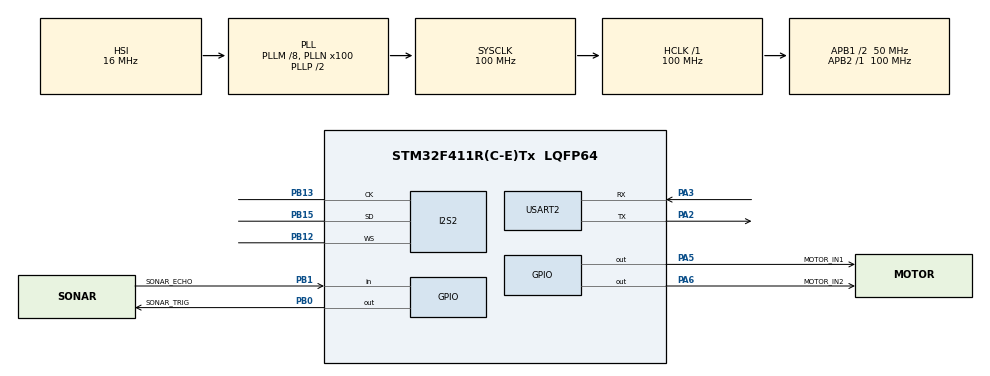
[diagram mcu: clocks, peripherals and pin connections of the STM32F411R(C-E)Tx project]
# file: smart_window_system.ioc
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Dma.Request0=SPI2_RX
Dma.SPI2_RX.0.Direction=DMA_PERIPH_TO_MEMORY
Dma.SPI2_RX.0.FIFOMode=DMA_FIFOMODE_DISABLE
Dma.SPI2_RX.0.Instance=DMA1_Stream3
Dma.SPI2_RX.0.MemDataAlignment=DMA_MDATAALIGN_HALFWORD
Dma.SPI2_RX.0.MemInc=DMA_MINC_ENABLE
Dma.SPI2_RX.0.Mode=DMA_CIRCULAR
Dma.SPI2_RX.0.PeriphDataAlignment=DMA_PDATAALIGN_HALFWORD
Dma.SPI2_RX.0.PeriphInc=DMA_PINC_DISABLE
Dma.SPI2_RX.0.Priority=DMA_PRIORITY_LOW
I2S2.AudioFreq=I2S_AUDIOFREQ_16K
I2S2.DataFormat=I2S_DATAFORMAT_16B_EXTENDED
I2S2.ErrorAudioFreq=-1.31 %
I2S2.FullDuplexMode=I2S_FULLDUPLEXMODE_DISABLE
I2S2.Instance=SPI$Index
I2S2.Mode=I2S_MODE_MASTER_RX
I2S2.RealAudioFreq=15.789 KHz
I2S2.VirtualMode=I2S_MODE_MASTER
Mcu.Family=STM32F4
Mcu.Name=STM32F411R(C-E)Tx
Mcu.Package=LQFP64
NVIC.DMA1_Stream3_IRQn=true\:1\:0\:true\:false\:true\:false\:true\:true
NVIC.PriorityGroup=NVIC_PRIORITYGROUP_4
PA2.Mode=Asynchronous
PA2.Signal=USART2_TX
PA3.Mode=Asynchronous
PA3.Signal=USART2_RX
PA5.GPIO_Label=MOTOR_IN1
PA5.Signal=GPIO_Output
PA6.GPIO_Label=MOTOR_IN2
PA6.Signal=GPIO_Output
PB0.GPIO_Label=SONAR_TRIG
PB0.Signal=GPIO_Output
PB1.GPIO_Label=SONAR_ECHO
PB1.Signal=GPIO_Input
PB12.Mode=Half_Duplex_Master
PB12.Signal=I2S2_WS
PB13.Mode=Half_Duplex_Master
PB13.Signal=I2S2_CK
PB15.Mode=Half_Duplex_Master
PB15.Signal=I2S2_SD
PC14-OSC32_IN.Mode=LSE-External-Oscillator
PC14-OSC32_IN.Signal=RCC_OSC32_IN
PC15-OSC32_OUT.Mode=LSE-External-Oscillator
PC15-OSC32_OUT.Signal=RCC_OSC32_OUT
PH0\ -\ OSC_IN.Mode=HSE-External-Clock-Source
PH0\ -\ OSC_IN.Signal=RCC_OSC_IN
PH1\ -\ OSC_OUT.Mode=HSE-External-Clock-Source
PH1\ -\ OSC_OUT.Signal=RCC_OSC_OUT
ProjectManager.HeapSize=0x800
ProjectManager.StackSize=0x800
ProjectManager.TargetToolchain=STM32CubeIDE
RCC.48MHZClocksFreq_Value=28571428.57142857
RCC.AHBFreq_Value=100000000
RCC.APB1CLKDivider=RCC_HCLK_DIV2
RCC.APB1Freq_Value=50000000
RCC.APB1TimFreq_Value=100000000
RCC.APB2Freq_Value=100000000
RCC.APB2TimFreq_Value=100000000
RCC.CortexFreq_Value=100000000
RCC.FLatency-AdvancedSettings=FLASH_LATENCY_3
RCC.HCLKFreq_Value=100000000
RCC.HSE_VALUE=25000000
RCC.HSI_VALUE=16000000
RCC.PLLI2SR=5
RCC.PLLM=8
RCC.PLLMUL=RCC_PLL_MUL9
RCC.PLLN=100
RCC.PLLQ=7
RCC.RCC_PLLsource_Clock_Source_FROM_HSE=RCC_HSE_PREDIV_DIV2
RCC.SYSCLKFreq_VALUE=100000000
RCC.SYSCLKSource=RCC_SYSCLKSOURCE_PLLCLK
RCC.SYSCLKSourceVirtual=RCC_SYSCLKSOURCE_PLLCLK
RCC.VCOOutputFreq_Value=200000000
STMicroelectronics.X-CUBE-AI.8.0.0.ActivationBufferSizeList=39824
STMicroelectronics.X-CUBE-AI.8.0.0.ActivationBuffers=pool0
STMicroelectronics.X-CUBE-AI.8.0.0.ActivationNames=pool0
STMicroelectronics.X-CUBE-AI.8.0.0.ActivationSizes=AI_RAIN_DETECTOR_MODEL_DATA_ACTIVATION_1_SIZE
STMicroelectronics.X-CUBE-AI.8.0.0.ApplicationCcDeviceJjApplication=ApplicationTemplate
STMicroelectronics.X-CUBE-AI.8.0.0.HeapSize=0x800
STMicroelectronics.X-CUBE-AI.8.0.0.InternalRamActivationBufferMaxSize=AI_RAIN_DETECTOR_MODEL_DATA_ACTIVATIONS_SIZE
STMicroelectronics.X-CUBE-AI.8.0.0.LatestDirectoryUsed-b845f19738b93dee37f0a92ab2f2141bf5e5762379895d0aa1408ba116003dd3=C\:\\Users\\samsung\\GitHub\\sound_train\\models
STMicroelectronics.X-CUBE-AI.8.0.0.MaximumNumberOfInputLayer=1
STMicroelectronics.X-CUBE-AI.8.0.0.MaximumNumberOfOutputLayer=1
STMicroelectronics.X-CUBE-AI.8.0.0.MaximumSizeOfInputLayer=1
STMicroelectronics.X-CUBE-AI.8.0.0.MaximumSizeOfOutputLayer=1
STMicroelectronics.X-CUBE-AI.8.0.0.ModelActualCompression-b845f19738b93dee37f0a92ab2f2141bf5e5762379895d0aa1408ba116003dd3=0.0
STMicroelectronics.X-CUBE-AI.8.0.0.ModelCompression-b845f19738b93dee37f0a92ab2f2141bf5e5762379895d0aa1408ba116003dd3=None
STMicroelectronics.X-CUBE-AI.8.0.0.ModelFlashOccupation-b845f19738b93dee37f0a92ab2f2141bf5e5762379895d0aa1408ba116003dd3=43240
STMicroelectronics.X-CUBE-AI.8.0.0.ModelHashList=b845f19738b93dee37f0a92ab2f2141bf5e5762379895d0aa1408ba116003dd3
STMicroelectronics.X-CUBE-AI.8.0.0.ModelKind-b845f19738b93dee37f0a92ab2f2141bf5e5762379895d0aa1408ba116003dd3=TFLITE
STMicroelectronics.X-CUBE-AI.8.0.0.ModelMacc-b845f19738b93dee37f0a92ab2f2141bf5e5762379895d0aa1408ba116003dd3=1183272
STMicroelectronics.X-CUBE-AI.8.0.0.ModelName-b845f19738b93dee37f0a92ab2f2141bf5e5762379895d0aa1408ba116003dd3=rain_detector_model
STMicroelectronics.X-CUBE-AI.8.0.0.ModelNameList=rain_detector_model
STMicroelectronics.X-CUBE-AI.8.0.0.ModelRamOccupation-b845f19738b93dee37f0a92ab2f2141bf5e5762379895d0aa1408ba116003dd3=39824
STMicroelectronics.X-CUBE-AI.8.0.0.ModelStructureFile-b845f19738b93dee37f0a92ab2f2141bf5e5762379895d0aa1408ba116003dd3=C\:\\Users\\samsung\\GitHub\\sound_train\\models\\rain_detector_int8.tflite
STMicroelectronics.X-CUBE-AI.8.0.0.ModelType-b845f19738b93dee37f0a92ab2f2141bf5e5762379895d0aa1408ba116003dd3=STM32Cube.AI runtime
STMicroelectronics.X-CUBE-AI.8.0.0.ReadyForCodeGeneration=true
STMicroelectronics.X-CUBE-AI.8.0.0.StackSize=0x800
STMicroelectronics.X-CUBE-AI.8.0.0.WorkingBufferStartAddrList=0xFFFFFFFF
STMicroelectronics.X-CUBE-AI.8.0.0.XAaCUBEAaAICcArtificialOoIntelligenceJjCore=true
STMicroelectronics.X-CUBE-AI.8.0.0.copyWeightToRam=false
STMicroelectronics.X-CUBE-AI.8.0.0.copyWeightToRam-b845f19738b93dee37f0a92ab2f2141bf5e5762379895d0aa1408ba116003dd3=false
STMicroelectronics.X-CUBE-AI.8.0.0.customLayerConfigEnabled=false
STMicroelectronics.X-CUBE-AI.8.0.0.customLayerConfigEnabled-b845f19738b93dee37f0a92ab2f2141bf5e5762379895d0aa1408ba116003dd3=false
STMicroelectronics.X-CUBE-AI.8.0.0.useInputAllocation=true
STMicroelectronics.X-CUBE-AI.8.0.0.useInputAllocation-b845f19738b93dee37f0a92ab2f2141bf5e5762379895d0aa1408ba116003dd3=true
STMicroelectronics.X-CUBE-AI.8.0.0.useOutputAllocation=true
STMicroelectronics.X-CUBE-AI.8.0.0.useOutputAllocation-b845f19738b93dee37f0a92ab2f2141bf5e5762379895d0aa1408ba116003dd3=true
USART2.VirtualMode=VM_ASYNC
VP_CRC_VS_CRC.Mode=CRC_Activate
VP_STMicroelectronics.X-CUBE-AI_VS_ArtificialOoIntelligenceJjXAaCUBEAaAI_8.0.0.Mode=ArtificialOoIntelligenceJjXAaCUBEAaAI
VP_STMicroelectronics.X-CUBE-AI_VS_DeviceJjApplication_8.0.0.Mode=DeviceJjApplication
board=custom

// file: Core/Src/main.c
/* USER CODE BEGIN Header */
/**
  ******************************************************************************
  * @file           : main.c
  * @brief          : Main program body
  ******************************************************************************
  * @attention
  *
  * Copyright (c) 2026 STMicroelectronics.
  * All rights reserved.
  *
  * This software is licensed under terms that can be found in the LICENSE file
  * in the root directory of this software component.
  * If no LICENSE file comes with this software, it is provided AS-IS.
  *
  ******************************************************************************
  */
/* USER CODE END Header */
#include "main.h"
#include "app_x-cube-ai.h"

/* USER CODE BEGIN Includes */
#ifndef ARM_MATH_CM4
#define ARM_MATH_CM4
#endif

#include "rain_detector_model.h"
#include "rain_detector_model_data.h"
#include "mfcc_params.h"
#include "arm_math.h"
#include <stdio.h>
#include <math.h>
#include <string.h>
#include <stdbool.h>
/* USER CODE END Includes */

/* USER CODE BEGIN PTD */
typedef enum {
    STATE_WINDOW_OPENING,   /* motor driving window open after boot  */
    STATE_WINDOW_OPEN,      /* window open, monitoring for rain      */
    STATE_WINDOW_CLOSING,   /* rain detected, motor closing window   */
    STATE_WINDOW_CLOSED     /* window closed, waiting for manual open */
} WindowState;
/* USER CODE END PTD */

/* USER CODE BEGIN PD */
#define THRESHOLD_RAIN_DETECT    5
#define THRESHOLD_NOT_RAIN       30

/* H-bridge motor pins (IN1/IN2) */
#define MOTOR_IN1_PIN            GPIO_PIN_5
#define MOTOR_IN1_PORT           GPIOA
#define MOTOR_IN2_PIN            GPIO_PIN_6
#define MOTOR_IN2_PORT           GPIOA

/* HC-SR04 ultrasonic sensor pins */
#define SONAR_TRIG_PIN           GPIO_PIN_0
#define SONAR_TRIG_PORT          GPIOB
#define SONAR_ECHO_PIN           GPIO_PIN_1
#define SONAR_ECHO_PORT          GPIOB

/* Distance threshold (cm): >= OPEN, < CLOSED */
#define WINDOW_CLOSED_CM         8U

/* Motor run limit; force state transition if HC-SR04 never confirms */
#define MOTOR_TIMEOUT_MS         6000U
/* USER CODE END PD */

CRC_HandleTypeDef hcrc;

I2S_HandleTypeDef hi2s2;
DMA_HandleTypeDef hdma_spi2_rx;

UART_HandleTypeDef huart2;

/* USER CODE BEGIN PV */
WindowState system_state          = STATE_WINDOW_OPENING;
int         rain_strike_count     = 0;
int         not_rain_strike_count = 0;
uint32_t    motor_start_time      = 0;

/* ICS43434 I2S DMA circular buffer
 * 160 frames x 2 (stereo) x 2 (double-buffer halves) = 640 half-words (1.28 KB)
 * ICS43434 L/R=GND -> left channel only; right channel words are 0
 * Left channel: buf[0], buf[2], buf[4], ... (even indices) */
#define I2S_CHUNK_FRAMES  160U
#define I2S_DMA_BUF_LEN  (I2S_CHUNK_FRAMES * 2U * 2U)   /* 640 */

static uint16_t         i2s_dma_buf[I2S_DMA_BUF_LEN];
static volatile uint8_t i2s_half        = 0;     /* 0=first half, 1=second half ready */
static volatile bool    i2s_chunk_rdy   = false;
static volatile bool    mic_accumulating = true;
static int              mic_sample_count = 0;
static volatile bool    mic_data_ready   = false;
/* USER CODE END PV */

void SystemClock_Config(void);
static void MX_GPIO_Init(void);
static void MX_DMA_Init(void);
static void MX_CRC_Init(void);
static void MX_USART2_UART_Init(void);
static void MX_I2S2_Init(void);
/* USER CODE BEGIN PFP */
void        AI_Run_Microphone_Inference(int8_t* mic_data, int8_t* out_not_rain, int8_t* out_rain);
void        Hardware_MFCC_Process(const short* p_mic_signal, int8_t* p_out_mfcc_int8);
static void     Motor_Close(void);
static void     Motor_Open(void);
static void     Motor_Stop(void);
static void     DWT_DelayUs(uint32_t us);
static uint32_t HC_SR04_ReadCm(void);
/* USER CODE END PFP */

int main(void)
{
  /* USER CODE BEGIN 1 */
	SCB->CPACR |= ((3UL << 10*2)|(3UL << 11*2));
  /* USER CODE END 1 */

  /* MCU Configuration--------------------------------------------------------*/

  /* Reset of all peripherals, Initializes the Flash interface and the Systick. */
  HAL_Init();

  /* Configure the system clock */
  SystemClock_Config();

  /* Initialize all configured peripherals */
  MX_GPIO_Init();
  MX_DMA_Init();
  MX_CRC_Init();
  MX_USART2_UART_Init();
  MX_I2S2_Init();
  MX_X_CUBE_AI_Init();
  /* USER CODE BEGIN 2 */
  /* Enable DWT cycle counter for HC-SR04 microsecond timing */
  CoreDebug->DEMCR |= CoreDebug_DEMCR_TRCENA_Msk;
  DWT->CYCCNT = 0;
  DWT->CTRL  |= DWT_CTRL_CYCCNTENA_Msk;

  setvbuf(stdout, NULL, _IONBF, 0);
  printf("\r\n\r\nSTM32 BOARD BOOTING SUCCESS!!\r\n");

  /* Start I2S DMA; callbacks fill mic buffer continuously */
  printf("  [DBG] Calling HAL_I2S_Receive_DMA...\r\n");
  HAL_StatusTypeDef i2s_ret = HAL_I2S_Receive_DMA(&hi2s2, i2s_dma_buf, I2S_DMA_BUF_LEN);
  printf("  [DBG] HAL_I2S_Receive_DMA returned: %d\r\n", (int)i2s_ret);
  if (i2s_ret != HAL_OK) {
      printf("  [I2S] DMA start FAILED (err=%d, i2s_err=0x%lx)\r\n",
             (int)i2s_ret, hi2s2.ErrorCode);
  } else {
      printf("  [I2S] DMA RX started (ICS43434 @ 16kHz)\r\n");
  }

  /* Open window on boot */
  printf("  [STATE] BOOT -> OPENING\r\n");
  Motor_Open();
  motor_start_time = HAL_GetTick();
  /* USER CODE END 2 */

  /* Infinite loop */
  /* USER CODE BEGIN WHILE */
  static uint32_t total_seconds = 0;
  static short    mic_raw_signal[16000];
  static int8_t   test_buffer[1274];   /* 98 frames x 13 coefs */

  const char* event_log = "System Init. Opening window...";

  while (1)
  {
    /* USER CODE END WHILE */

  MX_X_CUBE_AI_Process();
    /* USER CODE BEGIN 3 */

    /* Accumulate I2S chunks into mic_raw_signal (non-blocking, callback-driven) */
    if (i2s_chunk_rdy && mic_accumulating) {
        i2s_chunk_rdy = false;
        uint16_t *src = i2s_dma_buf +
                        (i2s_half ? I2S_CHUNK_FRAMES * 2U : 0U);
        /* Extract left channel (even indices) into mic_raw_signal */
        for (int i = 0; i < (int)I2S_CHUNK_FRAMES; i++) {
            mic_raw_signal[mic_sample_count++] = (int16_t)src[i * 2];
        }
        if (mic_sample_count >= 16000) {
            mic_sample_count = 0;
            mic_data_ready   = true;
            mic_accumulating = false;   /* hold off until MFCC processing completes */
        }
    }

    /* 1 second of audio ready: run MFCC + inference + state machine */
    if (mic_data_ready) {
        mic_data_ready = false;
        total_seconds++;

        /* Peak-normalize mic signal to match training data amplitude (~10000 peak).
         * Training audio peaks at 7000-10000; ICS43434 pickup is much quieter.
         * Skip normalization if signal is below noise floor (basically silence). */
        #define MIC_NOISE_FLOOR   300
        #define MIC_TARGET_PEAK   10000
        int16_t mic_max = 0;
        for (int i = 0; i < 16000; i++) {
            int16_t v = mic_raw_signal[i] < 0 ? -mic_raw_signal[i] : mic_raw_signal[i];
            if (v > mic_max) mic_max = v;
        }
        printf("  [MIC] max_amp: %d\r\n", mic_max);
        if (mic_max > MIC_NOISE_FLOOR) {
            float norm_scale = (float)MIC_TARGET_PEAK / (float)mic_max;
            for (int i = 0; i < 16000; i++) {
                int32_t s = (int32_t)((float)mic_raw_signal[i] * norm_scale);
                if (s >  32767) s =  32767;
                if (s < -32768) s = -32768;
                mic_raw_signal[i] = (int16_t)s;
            }
        }

        Hardware_MFCC_Process(mic_raw_signal, test_buffer);
        printf("  [MFCC dbg] f0: %4d %4d %4d\r\n",
               (int)test_buffer[0], (int)test_buffer[1], (int)test_buffer[2]);

        int8_t out_not_rain = 0;
        int8_t out_rain     = 0;
        AI_Run_Microphone_Inference(test_buffer, &out_not_rain, &out_rain);

        /* Bidirectional counter: increment rain or clear strike toward threshold */
        if (out_rain > out_not_rain) {
            if (rain_strike_count     < THRESHOLD_RAIN_DETECT) rain_strike_count++;
            if (not_rain_strike_count > 0)                     not_rain_strike_count--;
        } else {
            if (not_rain_strike_count < THRESHOLD_NOT_RAIN)    not_rain_strike_count++;
            if (rain_strike_count     > 0)                     rain_strike_count--;
        }

        /* HC-SR04 distance measurement (once per second) */
        uint32_t distance_cm = HC_SR04_ReadCm();
        bool     window_open = (distance_cm >= WINDOW_CLOSED_CM);
        printf("  [SONAR] %u cm -> %s\r\n",
               (unsigned)distance_cm, window_open ? "OPEN" : "CLOSED");

        /* State machine */
        switch (system_state) {

            case STATE_WINDOW_OPENING:
                /* Confirm OPEN via HC-SR04 or motor timeout */
                if (window_open ||
                    (HAL_GetTick() - motor_start_time) >= MOTOR_TIMEOUT_MS) {
                    printf("  [STATE] OPENING -> OPEN%s\r\n",
                           window_open ? "" : " (timeout)");
                    Motor_Stop();
                    rain_strike_count     = 0;
                    not_rain_strike_count = 0;
                    system_state = STATE_WINDOW_OPEN;
                    event_log    = window_open
                                   ? "Window OPEN confirmed. Monitoring for rain."
                                   : "Window OPEN (timeout). Monitoring for rain.";
                } else {
                    event_log = "Window Opening... Motor is active.";
                }
                break;

            case STATE_WINDOW_OPEN:
                /* Close window when rain_strike reaches threshold */
                if (rain_strike_count >= THRESHOLD_RAIN_DETECT) {
                    printf("  [STATE] OPEN -> CLOSING\r\n");
                    Motor_Close();
                    motor_start_time      = HAL_GetTick();
                    not_rain_strike_count = 0;
                    system_state = STATE_WINDOW_CLOSING;
                    event_log    = "RAIN DETECTED! Motor ON. Window closing.";
                } else {
                    event_log = "Weather Clear. Window remains OPEN.";
                }
                break;

            case STATE_WINDOW_CLOSING:
                /* Confirm CLOSED via HC-SR04 or motor timeout */
                if (!window_open ||
                    (HAL_GetTick() - motor_start_time) >= MOTOR_TIMEOUT_MS) {
                    printf("  [STATE] CLOSING -> CLOSED%s\r\n",
                           !window_open ? "" : " (timeout)");
                    Motor_Stop();
                    not_rain_strike_count = 0;
                    system_state = STATE_WINDOW_CLOSED;
                    event_log    = !window_open
                                   ? "Window CLOSED confirmed. Waiting for manual open."
                                   : "Window CLOSED (timeout). Waiting for manual open.";
                } else {
                    event_log = "Window Closing... Motor is active.";
                }
                break;

            case STATE_WINDOW_CLOSED:
                /* Manual open detected via HC-SR04; resume monitoring */
                if (window_open) {
                    printf("  [STATE] CLOSED -> OPEN (manual open detected)\r\n");
                    rain_strike_count     = 0;
                    not_rain_strike_count = 0;
                    system_state = STATE_WINDOW_OPEN;
                    event_log    = "Manual open detected. Monitoring for rain.";
                } else {
                    event_log = "Window CLOSED. Waiting for manual open...";
                }
                break;
        }
        int percent_rain     = (int)(((out_rain     + 128) * 100) / 255);
        int percent_not_rain = (int)(((out_not_rain + 128) * 100) / 255);

        /* Dashboard output */
        /* printf("\033[2J\033[H"); */ /* screen clear - disabled during debug */
        printf("==================================================\r\n");
        printf("           AI Smart Window Dashboard              \r\n");
        printf("==================================================\r\n");
        printf("  Uptime        : %lu sec\r\n", total_seconds);

        const char* state_str = "UNKNOWN";
        switch (system_state) {
            case STATE_WINDOW_OPENING: state_str = "OPENING (Motor ON)";  break;
            case STATE_WINDOW_OPEN:    state_str = "OPEN    (Monitoring)"; break;
            case STATE_WINDOW_CLOSING: state_str = "CLOSING (Motor ON)";  break;
            case STATE_WINDOW_CLOSED:  state_str = "CLOSED  (Monitoring)"; break;
        }
        printf("  System State  : %s\r\n", state_str);
        printf("  Window Pos    : %u cm (%s)\r\n",
               (unsigned)distance_cm, window_open ? "OPEN" : "CLOSED");
        printf("--------------------------------------------------\r\n");
        printf("         Neural Network Output Data\r\n");
        printf("  - Raw Outputs : Not Rain [%4d] | Rain [%4d]\r\n", out_not_rain, out_rain);
        printf("  - Not Rain Probability : %3d %%\r\n", percent_not_rain);
        printf("  - Rain    Probability  : %3d %%\r\n", percent_rain);
        printf("--------------------------------------------------\r\n");
        printf("         Confidence Threshold Counters\r\n");
        printf("  - Rain   Strikes : %2d / %d\r\n", rain_strike_count,     THRESHOLD_RAIN_DETECT);
        printf("  - Clear  Strikes : %2d / %d\r\n", not_rain_strike_count, THRESHOLD_NOT_RAIN);
        printf("==================================================\r\n");
        printf("  Event Log     : %s\r\n", event_log);

        /* Re-enable accumulation for next 1-second window */
        mic_accumulating = true;
    }
  }
  /* USER CODE END 3 */
}

void SystemClock_Config(void)
{
  RCC_OscInitTypeDef RCC_OscInitStruct = {0};
  RCC_ClkInitTypeDef RCC_ClkInitStruct = {0};

  /** Configure the main internal regulator output voltage
  */
  __HAL_RCC_PWR_CLK_ENABLE();
  __HAL_PWR_VOLTAGESCALING_CONFIG(PWR_REGULATOR_VOLTAGE_SCALE1);

  /** Initializes the RCC Oscillators according to the specified parameters
  * in the RCC_OscInitTypeDef structure.
  */
  RCC_OscInitStruct.OscillatorType = RCC_OSCILLATORTYPE_HSI;
  RCC_OscInitStruct.HSIState = RCC_HSI_ON;
  RCC_OscInitStruct.HSICalibrationValue = RCC_HSICALIBRATION_DEFAULT;
  RCC_OscInitStruct.PLL.PLLState = RCC_PLL_ON;
  RCC_OscInitStruct.PLL.PLLSource = RCC_PLLSOURCE_HSI;
  RCC_OscInitStruct.PLL.PLLM = 8;
  RCC_OscInitStruct.PLL.PLLN = 100;
  RCC_OscInitStruct.PLL.PLLP = RCC_PLLP_DIV2;
  RCC_OscInitStruct.PLL.PLLQ = 7;
  if (HAL_RCC_OscConfig(&RCC_OscInitStruct) != HAL_OK)
  {
    Error_Handler();
  }

  /** Initializes the CPU, AHB and APB buses clocks
  */
  RCC_ClkInitStruct.ClockType = RCC_CLOCKTYPE_HCLK|RCC_CLOCKTYPE_SYSCLK
                              |RCC_CLOCKTYPE_PCLK1|RCC_CLOCKTYPE_PCLK2;
  RCC_ClkInitStruct.SYSCLKSource = RCC_SYSCLKSOURCE_PLLCLK;
  RCC_ClkInitStruct.AHBCLKDivider = RCC_SYSCLK_DIV1;
  RCC_ClkInitStruct.APB1CLKDivider = RCC_HCLK_DIV2;
  RCC_ClkInitStruct.APB2CLKDivider = RCC_HCLK_DIV1;

  if (HAL_RCC_ClockConfig(&RCC_ClkInitStruct, FLASH_LATENCY_3) != HAL_OK)
  {
    Error_Handler();
  }
}

static void MX_CRC_Init(void)
{

  hcrc.Instance = CRC;
  if (HAL_CRC_Init(&hcrc) != HAL_OK)
  {
    Error_Handler();
  }

}

static void MX_I2S2_Init(void)
{

  hi2s2.Instance = SPI2;
  hi2s2.Init.Mode = I2S_MODE_MASTER_RX;
  hi2s2.Init.Standard = I2S_STANDARD_PHILIPS;
  hi2s2.Init.DataFormat = I2S_DATAFORMAT_16B_EXTENDED;
  hi2s2.Init.MCLKOutput = I2S_MCLKOUTPUT_DISABLE;
  hi2s2.Init.AudioFreq = I2S_AUDIOFREQ_16K;
  hi2s2.Init.CPOL = I2S_CPOL_LOW;
  hi2s2.Init.ClockSource = I2S_CLOCK_PLL;
  hi2s2.Init.FullDuplexMode = I2S_FULLDUPLEXMODE_DISABLE;
  if (HAL_I2S_Init(&hi2s2) != HAL_OK)
  {
    Error_Handler();
  }

}

static void MX_USART2_UART_Init(void)
{

  huart2.Instance = USART2;
  huart2.Init.BaudRate = 115200;
  huart2.Init.WordLength = UART_WORDLENGTH_8B;
  huart2.Init.StopBits = UART_STOPBITS_1;
  huart2.Init.Parity = UART_PARITY_NONE;
  huart2.Init.Mode = UART_MODE_TX_RX;
  huart2.Init.HwFlowCtl = UART_HWCONTROL_NONE;
  huart2.Init.OverSampling = UART_OVERSAMPLING_16;
  if (HAL_UART_Init(&huart2) != HAL_OK)
  {
    Error_Handler();
  }

}

static void MX_DMA_Init(void)
{

  /* DMA controller clock enable */
  __HAL_RCC_DMA1_CLK_ENABLE();

  /* DMA interrupt init */
  /* DMA1_Stream3_IRQn interrupt configuration */
  HAL_NVIC_SetPriority(DMA1_Stream3_IRQn, 1, 0);
  HAL_NVIC_EnableIRQ(DMA1_Stream3_IRQn);

}

static void MX_GPIO_Init(void)
{
  GPIO_InitTypeDef GPIO_InitStruct = {0};

  /* GPIO Ports Clock Enable */
  __HAL_RCC_GPIOC_CLK_ENABLE();
  __HAL_RCC_GPIOH_CLK_ENABLE();
  __HAL_RCC_GPIOA_CLK_ENABLE();
  __HAL_RCC_GPIOB_CLK_ENABLE();

  /*Configure GPIO pin Output Level */
  HAL_GPIO_WritePin(GPIOA, MOTOR_IN1_Pin|MOTOR_IN2_Pin, GPIO_PIN_RESET);

  /*Configure GPIO pin Output Level */
  HAL_GPIO_WritePin(SONAR_TRIG_GPIO_Port, SONAR_TRIG_Pin, GPIO_PIN_RESET);

  /*Configure GPIO pins : MOTOR_IN1_Pin MOTOR_IN2_Pin */
  GPIO_InitStruct.Pin = MOTOR_IN1_Pin|MOTOR_IN2_Pin;
  GPIO_InitStruct.Mode = GPIO_MODE_OUTPUT_PP;
  GPIO_InitStruct.Pull = GPIO_NOPULL;
  GPIO_InitStruct.Speed = GPIO_SPEED_FREQ_LOW;
  HAL_GPIO_Init(GPIOA, &GPIO_InitStruct);

  /*Configure GPIO pin : SONAR_TRIG_Pin */
  GPIO_InitStruct.Pin = SONAR_TRIG_Pin;
  GPIO_InitStruct.Mode = GPIO_MODE_OUTPUT_PP;
  GPIO_InitStruct.Pull = GPIO_NOPULL;
  GPIO_InitStruct.Speed = GPIO_SPEED_FREQ_LOW;
  HAL_GPIO_Init(SONAR_TRIG_GPIO_Port, &GPIO_InitStruct);

  /*Configure GPIO pin : SONAR_ECHO_Pin */
  GPIO_InitStruct.Pin = SONAR_ECHO_Pin;
  GPIO_InitStruct.Mode = GPIO_MODE_INPUT;
  GPIO_InitStruct.Pull = GPIO_NOPULL;
  HAL_GPIO_Init(SONAR_ECHO_GPIO_Port, &GPIO_InitStruct);

}

/* USER CODE BEGIN 4 */
int _write(int file, char *ptr, int len)
{
    HAL_UART_Transmit(&huart2, (uint8_t *)ptr, len, HAL_MAX_DELAY);
    return len;
}

/* DMA half-complete callback: first half of i2s_dma_buf[0..319] ready */
void HAL_I2S_RxHalfCpltCallback(I2S_HandleTypeDef *hi2s)
{
    if (hi2s->Instance == SPI2) {
        i2s_half      = 0;
        i2s_chunk_rdy = true;
    }
}

/* DMA full-complete callback: second half of i2s_dma_buf[320..639] ready */
void HAL_I2S_RxCpltCallback(I2S_HandleTypeDef *hi2s)
{
    if (hi2s->Instance == SPI2) {
        i2s_half      = 1;
        i2s_chunk_rdy = true;
    }
}

/* DWT cycle-counter based microsecond delay (used for HC-SR04 TRIG pulse) */
static void DWT_DelayUs(uint32_t us)
{
    uint32_t start = DWT->CYCCNT;
    uint32_t ticks = us * (SystemCoreClock / 1000000U);
    while ((DWT->CYCCNT - start) < ticks);
}

/* HC-SR04 distance measurement. Returns cm, 999 on timeout.
 * Sends 10us TRIG pulse, measures ECHO HIGH duration. */
static uint32_t HC_SR04_ReadCm(void)
{
    HAL_GPIO_WritePin(SONAR_TRIG_PORT, SONAR_TRIG_PIN, GPIO_PIN_SET);
    DWT_DelayUs(10);
    HAL_GPIO_WritePin(SONAR_TRIG_PORT, SONAR_TRIG_PIN, GPIO_PIN_RESET);

    uint32_t t_start = HAL_GetTick();
    while (HAL_GPIO_ReadPin(SONAR_ECHO_PORT, SONAR_ECHO_PIN) == GPIO_PIN_RESET) {
        if (HAL_GetTick() - t_start > 30U) return 999U;
    }
    uint32_t echo_start = DWT->CYCCNT;

    t_start = HAL_GetTick();
    while (HAL_GPIO_ReadPin(SONAR_ECHO_PORT, SONAR_ECHO_PIN) == GPIO_PIN_SET) {
        if (HAL_GetTick() - t_start > 30U) return 999U;
    }
    uint32_t echo_end = DWT->CYCCNT;

    uint32_t elapsed_us = (echo_end - echo_start) / (SystemCoreClock / 1000000U);
    return elapsed_us / 58U;
}

/* Drive IN2 LOW then IN1 HIGH to avoid shoot-through */
static void Motor_Close(void)
{
    HAL_GPIO_WritePin(MOTOR_IN2_PORT, MOTOR_IN2_PIN, GPIO_PIN_RESET);
    HAL_GPIO_WritePin(MOTOR_IN1_PORT, MOTOR_IN1_PIN, GPIO_PIN_SET);
    printf("  [MOTOR] Motor ON  (CLOSE) PA5=H PA6=L\r\n");
}

/* Drive IN1 LOW then IN2 HIGH */
static void Motor_Open(void)
{
    HAL_GPIO_WritePin(MOTOR_IN1_PORT, MOTOR_IN1_PIN, GPIO_PIN_RESET);
    HAL_GPIO_WritePin(MOTOR_IN2_PORT, MOTOR_IN2_PIN, GPIO_PIN_SET);
    printf("  [MOTOR] Motor ON  (OPEN)  PA5=L PA6=H\r\n");
}

static void Motor_Stop(void)
{
    HAL_GPIO_WritePin(MOTOR_IN1_PORT, MOTOR_IN1_PIN, GPIO_PIN_RESET);
    HAL_GPIO_WritePin(MOTOR_IN2_PORT, MOTOR_IN2_PIN, GPIO_PIN_RESET);
    printf("  [MOTOR] Motor OFF         PA5=L PA6=L\r\n");
}

void Hardware_MFCC_Process(const short* p_mic_signal, int8_t* p_out_mfcc_int8)
{
    #define _NUM_COEFS       MFCC_NUM_COEFS     /* 13  */
    #define _NUM_FRAMES      98                 /* (16000-480)/160 + 1 */
    #define _FFT_LEN         MFCC_FFT_LENGTH    /* 512 */
    #define _FRAME_LEN       MFCC_FRAME_LENGTH  /* 480 */
    #define _HOP_LEN         MFCC_FRAME_STEP    /* 160 */

    const float AI_SCALE      = 0.35635978f;
    const int   AI_ZERO_POINT = 70;

    static arm_mfcc_instance_f32 mfcc_inst;
    static float32_t frame_buffer_f32[_FFT_LEN];
    static float32_t mfcc_out_f32[_NUM_COEFS];
    static float32_t mfcc_tmp[_FFT_LEN + 2U];

    static bool is_initialized = false;
    int out_idx = 0;

    if (!is_initialized) {
        arm_status status = arm_mfcc_init_f32(
            &mfcc_inst,
            _FFT_LEN,
            MFCC_NUM_MEL_FILTERS,
            _NUM_COEFS,
            mfcc_dct_coefs,
            mfcc_filter_pos,
            mfcc_filter_lengths,
            mfcc_filter_coefs,
            mfcc_window_coefs);

        if (status != ARM_MATH_SUCCESS) {
            printf("\r\nCMSIS-DSP MFCC Init Failed!!\r\n");
        }
        is_initialized = true;
    }

    for (int f = 0; f < _NUM_FRAMES; f++)
    {
        int frame_start = f * _HOP_LEN;

        memset(frame_buffer_f32, 0, sizeof(frame_buffer_f32));

        for (int i = 0; i < _FRAME_LEN; i++)
        {
            frame_buffer_f32[i] = (float32_t)p_mic_signal[frame_start + i] / 32768.0f;
        }

        arm_mfcc_f32(&mfcc_inst, frame_buffer_f32, mfcc_out_f32, mfcc_tmp);

        for (int c = 0; c < _NUM_COEFS; c++)
        {
            float32_t quantized_val = (mfcc_out_f32[c] / AI_SCALE) + AI_ZERO_POINT;
            int32_t rounded_val = (quantized_val >= 0.0f)
                ? (int32_t)(quantized_val + 0.5f)
                : (int32_t)(quantized_val - 0.5f);

            if (rounded_val >  127) rounded_val =  127;
            if (rounded_val < -128) rounded_val = -128;

            p_out_mfcc_int8[out_idx++] = (int8_t)rounded_val;
        }
    }
}
/* USER CODE END 4 */

void Error_Handler(void)
{
  __disable_irq();
  while (1)
  {
  }
}
